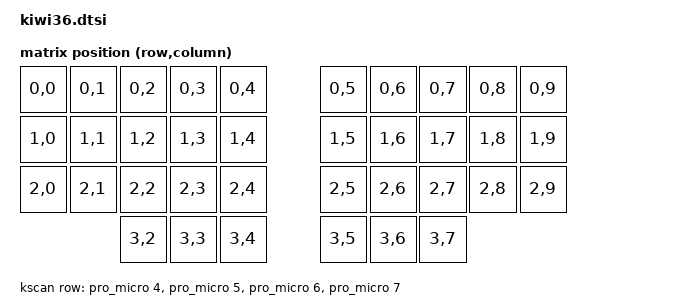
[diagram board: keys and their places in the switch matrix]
#include <dt-bindings/zmk/matrix_transform.h>
#include "kiwi36-layouts.dtsi"

/ {
    chosen {
        zephyr,display = &oled;
        zmk,physical-layout = &physical_layout0;
        zmk,kscan = &kscan;
    };

    default_transform: matrix_transform {
        compatible = "zmk,matrix-transform";
        columns = <10>;
        rows = <4>; 

 //         | SW1  | SW2   | SW3   | SW4   | SW5  |    | SW23  | SW22  | SW21 | SW20  | SW19  |
 //         | SW6  | SW7   | SW8   | SW9   | SW10 |    | SW28  | SW27  | SW26 | SW25  | SW24  |
 //         | SW11 | SW12  | SW13  | SW14  | SW15 |    | SW33  | SW32  | SW31 | SW30  | SW19  |
 //                        | SW16  | SW17  | SW18 |    | SW36  | SW35  | SW34 |
       
        map = < 
            RC(0,0) RC(0,1) RC(0,2) RC(0,3) RC(0,4)     RC(0,5) RC(0,6) RC(0,7) RC(0,8) RC(0,9) 
            RC(1,0) RC(1,1) RC(1,2) RC(1,3) RC(1,4)     RC(1,5) RC(1,6) RC(1,7) RC(1,8) RC(1,9) 
            RC(2,0) RC(2,1) RC(2,2) RC(2,3) RC(2,4)     RC(2,5) RC(2,6) RC(2,7) RC(2,8) RC(2,9) 
                            RC(3,2) RC(3,3) RC(3,4)     RC(3,5) RC(3,6) RC(3,7)
    >;
};

kscan: kscan {
        compatible = "zmk,kscan-gpio-matrix";
        diode-direction = "col2row";
        wakeup-source;

        row-gpios = <&pro_micro 4 (GPIO_ACTIVE_HIGH | GPIO_PULL_DOWN)>, 
                    <&pro_micro 5 (GPIO_ACTIVE_HIGH | GPIO_PULL_DOWN)>, 
                    <&pro_micro 6 (GPIO_ACTIVE_HIGH | GPIO_PULL_DOWN)>, 
                    <&pro_micro 7 (GPIO_ACTIVE_HIGH | GPIO_PULL_DOWN)>;

   };
};

